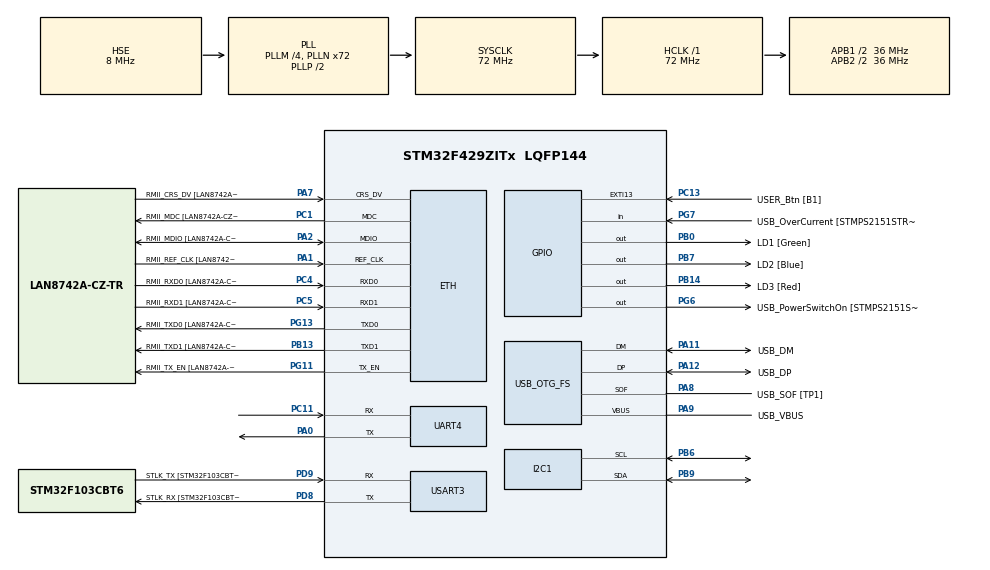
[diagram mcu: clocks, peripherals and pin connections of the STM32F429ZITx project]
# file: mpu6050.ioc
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ETH.MediaInterface=HAL_ETH_RMII_MODE
ETH.PHY_Name=LAN8742A_PHY_ADDRESS
ETH.PHY_Value=0
ETH.PhyAddress=0
I2C1.I2C_Mode=I2C_Fast
Mcu.Family=STM32F4
Mcu.Name=STM32F429ZITx
Mcu.Package=LQFP144
NVIC.PriorityGroup=NVIC_PRIORITYGROUP_4
NVIC.UART4_IRQn=true\:0\:0\:false\:false\:true\:true\:true\:true
PA0/WKUP.Mode=Asynchronous
PA0/WKUP.Signal=UART4_TX
PA1.GPIO_Label=RMII_REF_CLK [LAN8742A-CZ-TR_REFCLK0]
PA1.Mode=RMII
PA1.Signal=ETH_REF_CLK
PA10.GPIO_Label=USB_ID
PA10.Signal=USB_OTG_FS_ID
PA11.GPIO_Label=USB_DM
PA11.Mode=Device_Only
PA11.Signal=USB_OTG_FS_DM
PA12.GPIO_Label=USB_DP
PA12.Mode=Device_Only
PA12.Signal=USB_OTG_FS_DP
PA13.GPIO_Label=TMS
PA13.Mode=Serial_Wire
PA13.Signal=SYS_JTMS-SWDIO
PA14.GPIO_Label=TCK
PA14.Mode=Serial_Wire
PA14.Signal=SYS_JTCK-SWCLK
PA2.GPIO_Label=RMII_MDIO [LAN8742A-CZ-TR_MDIO]
PA2.Mode=RMII
PA2.Signal=ETH_MDIO
PA7.GPIO_Label=RMII_CRS_DV [LAN8742A-CZ-TR_CRS_DV]
PA7.Mode=RMII
PA7.Signal=ETH_CRS_DV
PA8.GPIO_Label=USB_SOF [TP1]
PA8.Mode=Activate_SOF_FS
PA8.Signal=USB_OTG_FS_SOF
PA9.GPIO_Label=USB_VBUS
PA9.Mode=Activate_VBUS
PA9.Signal=USB_OTG_FS_VBUS
PB0.GPIO_Label=LD1 [Green]
PB0.Signal=GPIO_Output
PB13.GPIO_Label=RMII_TXD1 [LAN8742A-CZ-TR_TXD1]
PB13.Mode=RMII
PB13.Signal=ETH_TXD1
PB14.GPIO_Label=LD3 [Red]
PB14.Signal=GPIO_Output
PB6.Mode=I2C
PB6.Signal=I2C1_SCL
PB7.GPIO_Label=LD2 [Blue]
PB7.Signal=GPIO_Output
PB9.Mode=I2C
PB9.Signal=I2C1_SDA
PC1.GPIO_Label=RMII_MDC [LAN8742A-CZ-TR_MDC]
PC1.Mode=RMII
PC1.Signal=ETH_MDC
PC11.Mode=Asynchronous
PC11.Signal=UART4_RX
PC13.GPIO_Label=USER_Btn [B1]
PC13.Signal=GPXTI13
PC14/OSC32_IN.Mode=LSE-External-Oscillator
PC14/OSC32_IN.Signal=RCC_OSC32_IN
PC15/OSC32_OUT.Mode=LSE-External-Oscillator
PC15/OSC32_OUT.Signal=RCC_OSC32_OUT
PC4.GPIO_Label=RMII_RXD0 [LAN8742A-CZ-TR_RXD0]
PC4.Mode=RMII
PC4.Signal=ETH_RXD0
PC5.GPIO_Label=RMII_RXD1 [LAN8742A-CZ-TR_RXD1]
PC5.Mode=RMII
PC5.Signal=ETH_RXD1
PD8.GPIO_Label=STLK_RX [STM32F103CBT6_PA3]
PD8.Mode=Asynchronous
PD8.Signal=USART3_TX
PD9.GPIO_Label=STLK_TX [STM32F103CBT6_PA2]
PD9.Mode=Asynchronous
PD9.Signal=USART3_RX
PG11.GPIO_Label=RMII_TX_EN [LAN8742A-CZ-TR_TXEN]
PG11.Mode=RMII
PG11.Signal=ETH_TX_EN
PG13.GPIO_Label=RMII_TXD0 [LAN8742A-CZ-TR_TXD0]
PG13.Mode=RMII
PG13.Signal=ETH_TXD0
PG6.GPIO_Label=USB_PowerSwitchOn [STMPS2151STR_EN]
PG6.Signal=GPIO_Output
PG7.GPIO_Label=USB_OverCurrent [STMPS2151STR_FAULT]
PG7.Signal=GPIO_Input
PH0/OSC_IN.GPIO_Label=MCO [STM32F103CBT6_PA8]
PH0/OSC_IN.Mode=HSE-External-Clock-Source
PH0/OSC_IN.Signal=RCC_OSC_IN
PH1/OSC_OUT.Mode=HSE-External-Clock-Source
PH1/OSC_OUT.Signal=RCC_OSC_OUT
ProjectManager.HeapSize=0x200
ProjectManager.StackSize=0x400
ProjectManager.TargetToolchain=STM32CubeIDE
RCC.48MHZClocksFreq_Value=48000000
RCC.AHBFreq_Value=72000000
RCC.APB1CLKDivider=RCC_HCLK_DIV2
RCC.APB1Freq_Value=36000000
RCC.APB1TimFreq_Value=72000000
RCC.APB2CLKDivider=RCC_HCLK_DIV2
RCC.APB2Freq_Value=36000000
RCC.APB2TimFreq_Value=72000000
RCC.CortexFreq_Value=72000000
RCC.HCLKFreq_Value=72000000
RCC.HSE_VALUE=8000000
RCC.HSI_VALUE=16000000
RCC.PLLM=4
RCC.PLLMUL=RCC_PLL_MUL9
RCC.PLLN=72
RCC.PLLQ=3
RCC.PRESCALERUSB=RCC_USBCLKSOURCE_PLL_DIV1_5
RCC.SYSCLKFreq_VALUE=72000000
RCC.SYSCLKSource=RCC_SYSCLKSOURCE_PLLCLK
RCC.SYSCLKSourceVirtual=RCC_SYSCLKSOURCE_PLLCLK
RCC.USBFreq_Value=48000000
RCC.VCOOutputFreq_Value=144000000
UART4.VirtualMode=Asynchronous
USART3.VirtualMode=VM_ASYNC
USB_OTG_FS.VirtualMode=Device_Only
board=NUCLEO-F429ZI

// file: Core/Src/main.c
/* USER CODE BEGIN Header */
/**
  ******************************************************************************
  * @file           : main.c
  * @brief          : Main program body
  ******************************************************************************
  * @attention
  *
  * Copyright (c) 2024 STMicroelectronics.
  * All rights reserved.
  *
  * This software is licensed under terms that can be found in the LICENSE file
  * in the root directory of this software component.
  * If no LICENSE file comes with this software, it is provided AS-IS.
  *
  ******************************************************************************
  */
/* USER CODE END Header */
#include "main.h"
#include "eth.h"
#include "i2c.h"
#include "usart.h"
#include "usb_otg.h"
#include "gpio.h"

/* USER CODE BEGIN Includes */
#include <stdio.h>
#include <string.h>
#include "math.h"
#include "mpu6050.h"
/* USER CODE END Includes */

/* USER CODE BEGIN PV */
MPU6050_t MPU6050;
char msg[50] = { };
uint16_t Ax;
uint16_t Ay;
uint16_t Az;
/* USER CODE END PV */

void SystemClock_Config(void);

int main(void)
{

  /* MCU Configuration--------------------------------------------------------*/

  /* Reset of all peripherals, Initializes the Flash interface and the Systick. */
  HAL_Init();

  /* Configure the system clock */
  SystemClock_Config();

  /* Initialize all configured peripherals */
  MX_GPIO_Init();
  MX_ETH_Init();
  MX_I2C1_Init();
  MX_USART3_UART_Init();
  MX_USB_OTG_FS_PCD_Init();
  MX_UART4_Init();
  /* USER CODE BEGIN 2 */
	while (MPU6050_Init(&hi2c1) == 1) ;
  /* USER CODE END 2 */

  /* Infinite loop */
  /* USER CODE BEGIN WHILE */
  while (1)
  {
	  MPU6050_Read_All(&hi2c1, &MPU6050);
	  HAL_Delay(10);
	  Ax = MPU6050.Accel_X_RAW;
	  Ay = MPU6050.Accel_Y_RAW;
	  Az = MPU6050.Accel_Z_RAW;
	  snprintf(msg, sizeof(msg), "%d", MPU6050.Accel_X_RAW);
	  HAL_UART_Transmit(&huart4, (uint8_t*)msg, strlen(msg), HAL_MAX_DELAY);
    /* USER CODE END WHILE */

  }
}

void SystemClock_Config(void)
{
  RCC_OscInitTypeDef RCC_OscInitStruct = {0};
  RCC_ClkInitTypeDef RCC_ClkInitStruct = {0};

  /** Configure the main internal regulator output voltage
  */
  __HAL_RCC_PWR_CLK_ENABLE();
  __HAL_PWR_VOLTAGESCALING_CONFIG(PWR_REGULATOR_VOLTAGE_SCALE3);

  /** Initializes the RCC Oscillators according to the specified parameters
  * in the RCC_OscInitTypeDef structure.
  */
  RCC_OscInitStruct.OscillatorType = RCC_OSCILLATORTYPE_HSE;
  RCC_OscInitStruct.HSEState = RCC_HSE_BYPASS;
  RCC_OscInitStruct.PLL.PLLState = RCC_PLL_ON;
  RCC_OscInitStruct.PLL.PLLSource = RCC_PLLSOURCE_HSE;
  RCC_OscInitStruct.PLL.PLLM = 4;
  RCC_OscInitStruct.PLL.PLLN = 72;
  RCC_OscInitStruct.PLL.PLLP = RCC_PLLP_DIV2;
  RCC_OscInitStruct.PLL.PLLQ = 3;
  if (HAL_RCC_OscConfig(&RCC_OscInitStruct) != HAL_OK)
  {
    Error_Handler();
  }

  /** Initializes the CPU, AHB and APB buses clocks
  */
  RCC_ClkInitStruct.ClockType = RCC_CLOCKTYPE_HCLK|RCC_CLOCKTYPE_SYSCLK
                              |RCC_CLOCKTYPE_PCLK1|RCC_CLOCKTYPE_PCLK2;
  RCC_ClkInitStruct.SYSCLKSource = RCC_SYSCLKSOURCE_PLLCLK;
  RCC_ClkInitStruct.AHBCLKDivider = RCC_SYSCLK_DIV1;
  RCC_ClkInitStruct.APB1CLKDivider = RCC_HCLK_DIV2;
  RCC_ClkInitStruct.APB2CLKDivider = RCC_HCLK_DIV2;

  if (HAL_RCC_ClockConfig(&RCC_ClkInitStruct, FLASH_LATENCY_2) != HAL_OK)
  {
    Error_Handler();
  }
}

void Error_Handler(void)
{
  __disable_irq();
  while (1)
  {
  }
}
